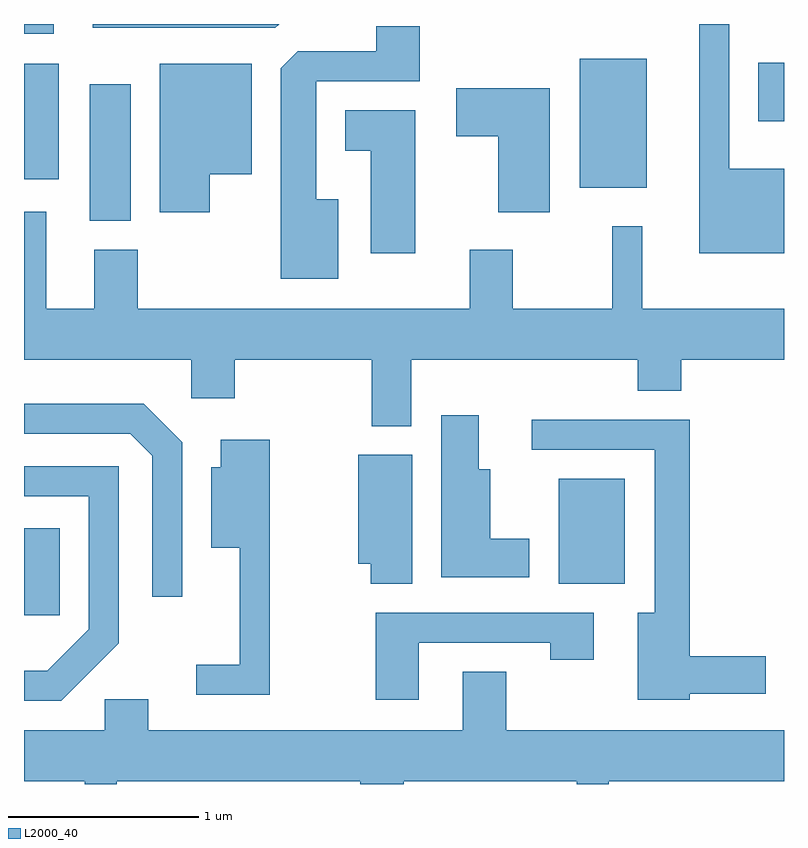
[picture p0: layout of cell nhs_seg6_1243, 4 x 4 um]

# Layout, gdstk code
import gdstk
lib = gdstk.Library(unit=1e-6, precision=1e-09)
def R(c, l, rs):  # rectangles x0, y0, x1, y1
    for r in rs: c.add(gdstk.rectangle(r[:2], r[2:], *l))
def P(c, l, *ps):  # polygons
    for p in ps: c.add(gdstk.Polygon(p, *l))
L2000_40 = (2000, 40)

nhs_seg6_1243 = lib.new_cell('nhs_seg6_1243')
R(nhs_seg6_1243, L2000_40, [(221.611,1633.051,221.799,1633.509), (224.426,1633.216,224.774,1633.769), (221.956,1635.126,222.174,1635.844), (224.536,1635.301,224.889,1635.979), (221.611,1635.346,221.794,1635.954), (225.476,1635.651,225.611,1635.959), (221.611,1636.111,221.768,1636.162)])
P(nhs_seg6_1243, L2000_40, [(225.611,1635.399),(225.324,1635.399),(225.324,1636.162),(225.166,1636.162),(225.166,1634.956),(225.611,1634.956)],
  [(222.955,1636.162),(221.973,1636.162),(221.973,1636.141),(222.934,1636.141)],
  [(223.264,1635.239),(223.149,1635.239),(223.149,1635.861),(223.694,1635.861),(223.694,1636.149),(223.466,1636.149),(223.466,1636.019),(223.052,1636.019),(222.961,1635.929),(222.961,1634.821),(223.264,1634.821)],
  [(222.589,1635.371),(222.809,1635.371),(222.809,1635.954),(222.326,1635.954),(222.326,1635.171),(222.589,1635.171)],
  [(224.379,1635.824),(223.886,1635.824),(223.886,1635.571),(224.106,1635.571),(224.106,1635.171),(224.379,1635.171)],
  [(223.669,1635.709),(223.301,1635.709),(223.301,1635.496),(223.436,1635.496),(223.436,1634.956),(223.669,1634.956)],
  [(223.649,1634.396),(224.841,1634.396),(224.841,1634.231),(225.069,1634.231),(225.069,1634.396),(225.611,1634.396),(225.611,1634.664),(224.864,1634.664),(224.864,1635.098),(224.706,1635.098),(224.706,1634.664),(224.184,1634.664),(224.184,1634.974),(223.956,1634.974),(223.956,1634.664),(222.209,1634.664),(222.209,1634.974),(221.981,1634.974),(221.981,1634.664),(221.729,1634.664),(221.729,1635.173),(221.611,1635.173),(221.611,1634.396),(222.491,1634.396),(222.491,1634.191),(222.719,1634.191),(222.719,1634.396),(223.441,1634.396),(223.441,1634.046),(223.649,1634.046)],
  [(222.444,1633.962),(222.242,1634.164),(221.611,1634.164),(221.611,1634.006),(222.169,1634.006),(222.286,1633.889),(222.286,1633.148),(222.444,1633.148)],
  [(224.269,1633.454),(224.064,1633.454),(224.064,1633.819),(224.004,1633.819),(224.004,1634.104),(223.806,1634.104),(223.806,1633.251),(224.269,1633.251)],
  [(225.114,1632.636),(225.514,1632.636),(225.514,1632.834),(225.114,1632.834),(225.114,1634.079),(224.283,1634.079),(224.283,1633.921),(224.931,1633.921),(224.931,1633.064),(224.841,1633.064),(224.841,1632.606),(225.114,1632.606)],
  [(222.904,1633.974),(222.646,1633.974),(222.646,1633.829),(222.596,1633.829),(222.596,1633.406),(222.746,1633.406),(222.746,1632.789),(222.518,1632.789),(222.518,1632.631),(222.904,1632.631)],
  [(223.654,1633.894),(223.371,1633.894),(223.371,1633.321),(223.436,1633.321),(223.436,1633.216),(223.654,1633.216)],
  [(222.109,1632.904),(222.109,1633.834),(221.611,1633.834),(221.611,1633.676),(221.951,1633.676),(221.951,1632.977),(221.734,1632.759),(221.611,1632.759),(221.611,1632.601),(221.807,1632.601)],
  [(223.689,1632.906),(224.381,1632.906),(224.381,1632.816),(224.609,1632.816),(224.609,1633.064),(223.461,1633.064),(223.461,1632.606),(223.689,1632.606)],
  [(222.099,1632.176),(223.381,1632.176),(223.381,1632.162),(223.609,1632.162),(223.609,1632.176),(224.521,1632.176),(224.521,1632.162),(224.689,1632.162),(224.689,1632.176),(225.611,1632.176),(225.611,1632.444),(224.149,1632.444),(224.149,1632.754),(223.921,1632.754),(223.921,1632.444),(222.264,1632.444),(222.264,1632.609),(222.036,1632.609),(222.036,1632.444),(221.611,1632.444),(221.611,1632.176),(221.931,1632.176),(221.931,1632.162),(222.099,1632.162)])

lib.write_gds('nhs_seg6_1243.gds')
